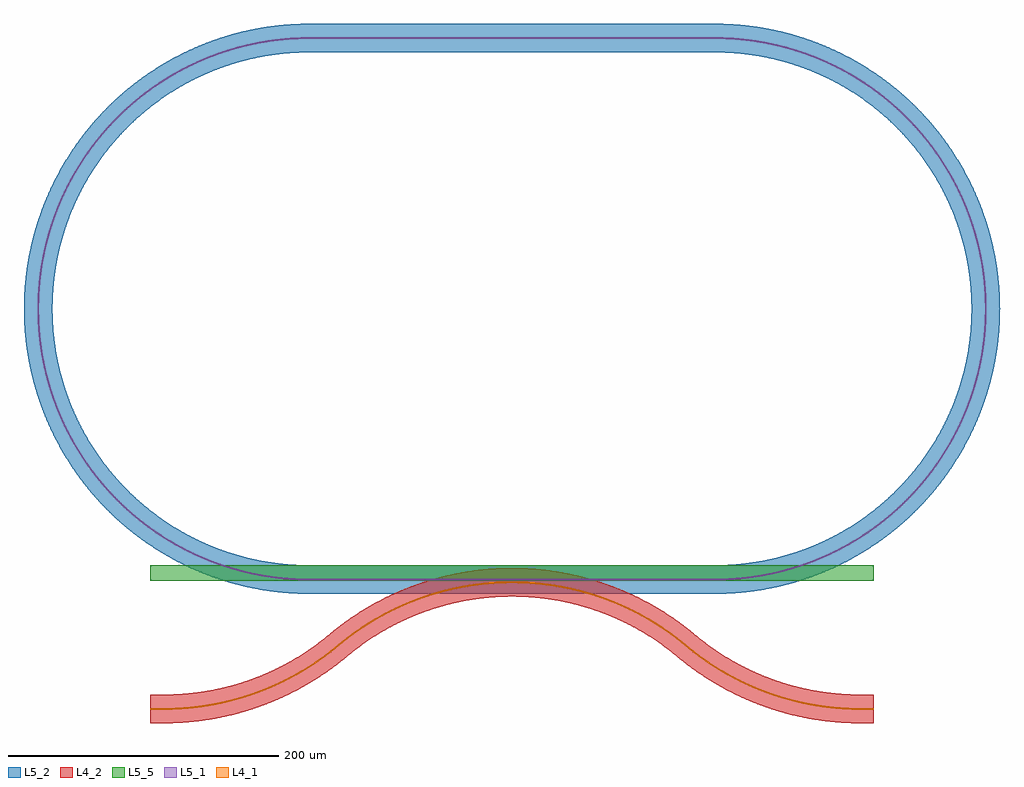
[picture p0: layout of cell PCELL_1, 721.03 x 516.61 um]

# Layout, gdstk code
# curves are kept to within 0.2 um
from math import pi, radians
import gdstk
lib = gdstk.Library(unit=1e-6, precision=1e-09)
def R(c, l, rs):  # rectangles x0, y0, x1, y1
    for r in rs: c.add(gdstk.rectangle(r[:2], r[2:], *l))
def P(c, l, *ps):  # polygons
    for p in ps: c.add(gdstk.Polygon(p, *l))
L4_1 = (4, 1)
L4_2 = (4, 2)
L5_1 = (5, 1)
L5_2 = (5, 2)
L5_5 = (5, 5)

wg_trace_1 = lib.new_cell('WG_TRACE_1')
P(wg_trace_1, L5_1, [(0,-0.53),(10.145,-0.273),(19.917,0.462),(29.64,1.673),(39.293,3.358),(48.852,5.512),(58.294,8.13),(67.598,11.207),(76.739,14.735),(85.698,18.705),(94.452,23.107),(102.98,27.933),(111.263,33.168),(119.28,38.803),(127.012,44.822),(134.44,51.212),(141.548,57.957),(148.318,65.041),(154.734,72.447),(160.78,80.158),(166.442,88.156),(171.707,96.42),(176.562,104.931),(180.995,113.67),(184.996,122.614),(188.556,131.744),(191.665,141.036),(194.316,150.469),(196.504,160.021),(198.327,170.36),(199.538,180.083),(200.273,189.855),(200.529,199.65),(200.307,209.446),(199.606,219.22),(198.429,228.948),(196.778,238.606),(194.657,248.173),(192.072,257.624),(189.028,266.938),(185.532,276.092),(181.593,285.065),(176.893,294.452),(172.067,302.98),(166.832,311.263),(161.197,319.28),(155.178,327.012),(148.788,334.44),(142.043,341.548),(134.959,348.318),(127.012,355.178),(119.28,361.197),(111.263,366.832),(102.98,372.067),(94.452,376.893),(85.698,381.295),(76.739,385.265),(67.598,388.793),(58.294,391.87),(48.852,394.488),(39.293,396.642),(29.64,398.327),(19.917,399.538),(10.145,400.273),(0,400.53),(0,399.47),(10.787,399.178),(21.196,398.34),(32.235,396.848),(42.493,394.891),(51.29,392.763),(59.982,390.238),(68.55,387.321),(77.618,383.749),(86.502,379.738),(95.179,375.297),(103.628,370.439),(111.83,365.173),(119.766,359.513),(126.879,353.916),(134.246,347.534),(141.292,340.8),(148.002,333.73),(154.358,326.34),(160.345,318.649),(165.95,310.675),(171.158,302.436),(175.958,293.953),(180.337,285.245),(184.286,276.334),(187.795,267.24),(190.855,257.986),(193.46,248.594),(195.603,239.085),(197.279,229.483),(198.483,219.811),(199.214,210.092),(199.469,200.348),(199.248,190.604),(198.551,180.882),(197.38,171.205),(195.738,161.598),(193.629,152.082),(191.057,142.68),(188.028,133.416),(184.551,124.31),(180.634,115.385),(176.284,106.662),(171.514,98.162),(166.335,89.905),(160.758,81.911),(154.798,74.199),(148.468,66.788),(141.538,59.447),(134.76,52.936),(127.415,46.528),(119.766,40.487),(111.83,34.827),(103.628,29.561),(95.179,24.703),(86.502,20.262),(77.618,16.251),(68.549,12.679),(59.982,9.762),(51.29,7.237),(42.493,5.109),(32.235,3.152),(21.196,1.66),(10.787,0.822),(0,0.53)])
P(wg_trace_1, L5_2, [(0,-10.515),(10.651,-10.245),(20.908,-9.474),(31.116,-8.202),(41.25,-6.434),(51.285,-4.172),(61.197,-1.423),(70.964,1.807),(80.56,5.51),(89.965,9.677),(99.155,14.299),(108.738,19.743),(117.414,25.27),(125.809,31.214),(133.904,37.562),(141.679,44.297),(149.113,51.4),(156.197,58.865),(162.905,66.664),(169.224,74.781),(175.139,83.197),(180.635,91.892),(185.701,100.845),(190.323,110.035),(194.49,119.44),(198.195,129.041),(201.423,138.803),(204.172,148.715),(206.434,158.75),(208.202,168.884),(209.474,179.092),(210.245,189.349),(210.514,199.633),(210.281,209.917),(209.546,220.177),(208.31,230.389),(206.577,240.529),(204.35,250.572),(201.636,260.494),(198.44,270.271),(194.77,279.881),(190.325,289.961),(185.701,299.155),(180.635,308.108),(175.139,316.803),(169.224,325.219),(162.905,333.336),(156.197,341.135),(149.116,348.596),(141.679,355.703),(133.9,362.441),(125.809,368.786),(117.414,374.73),(108.738,380.257),(99.155,385.701),(89.965,390.323),(80.56,394.49),(70.968,398.192),(61.197,401.423),(51.285,404.172),(41.25,406.434),(31.116,408.202),(20.908,409.474),(10.651,410.245),(0,410.515),(0,389.485),(9.587,389.242),(19.478,388.481),(29.315,387.203),(39.073,385.412),(48.723,383.113),(58.239,380.313),(67.596,377.017),(76.768,373.237),(85.729,368.982),(94.456,364.264),(102.923,359.095),(111.109,353.49),(118.989,347.465),(126.544,341.036),(133.752,334.22),(140.593,327.036),(151.528,313.77),(161.216,299.569),(169.576,284.548),(173.504,276.163),(176.78,268.214),(182.235,251.911),(186.19,235.181),(188.612,218.161),(189.242,209.587),(189.484,200.661),(189.304,191.735),(188.735,183.156),(186.431,166.12),(182.593,149.362),(179.902,140.503),(177.017,132.404),(170.162,116.638),(161.907,101.559),(152.319,87.29),(146.631,79.984),(141.036,73.456),(134.223,66.251),(127.036,59.407),(119.503,52.951),(111.644,46.898),(103.478,41.265),(95.025,36.065),(86.319,31.318),(77.372,27.032),(68.214,23.22),(58.868,19.892),(49.357,17.057),(39.72,14.725),(29.969,12.9),(20.135,11.588),(10.247,10.793),(0,10.515)])

pcell_2_wg1a = lib.new_cell('PCELL_2_wg1a')
P(pcell_2_wg1a, L4_1, [(-267.115,-96.112),(-254.329,-96.093),(-245.977,-95.803),(-236.258,-95.025),(-227.277,-93.88),(-217.673,-92.195),(-208.163,-90.046),(-199.436,-87.638),(-190.169,-84.607),(-181.06,-81.13),(-172.131,-77.214),(-163.403,-72.868),(-154.896,-68.103),(-147.213,-63.314),(-139.754,-58.182),(-133.081,-53.151),(-120.086,-42.727),(-114.482,-38.653),(-108.741,-34.776),(-101.679,-30.391),(-94.44,-26.303),(-87.66,-22.824),(-80.118,-19.327),(-71.144,-15.649),(-62.002,-12.411),(-52.713,-9.621),(-43.3,-7.286),(-32.418,-5.182),(-21.436,-3.685),(-11.079,-2.838),(0,-2.53),(0,-1.47),(-10.443,-1.742),(-20.164,-2.486),(-29.838,-3.702),(-40.124,-5.525),(-50.301,-7.881),(-60.342,-10.764),(-69.566,-13.923),(-79.266,-17.801),(-86.872,-21.264),(-94.942,-25.369),(-102.219,-29.479),(-109.319,-33.888),(-115.091,-37.785),(-120.724,-41.881),(-133.737,-52.318),(-140.375,-57.323),(-147.794,-62.427),(-155.436,-67.191),(-163.898,-71.931),(-172.58,-76.253),(-181.462,-80.149),(-190.522,-83.608),(-199.077,-86.422),(-207.75,-88.847),(-216.524,-90.879),(-225.381,-92.512),(-234.99,-93.821),(-244.652,-94.663),(-253.651,-95.022),(-267.115,-95.052)])
P(pcell_2_wg1a, L4_2, [(-267.115,-106.097),(-252.728,-106.052),(-241.774,-105.538),(-230.861,-104.454),(-219.3,-102.673),(-207.856,-100.253),(-196.564,-97.201),(-184.771,-93.276),(-173.902,-88.953),(-160.032,-82.375),(-146.677,-74.803),(-132.728,-65.418),(-114.599,-51.097),(-103.849,-43.507),(-90.291,-35.411),(-76.107,-28.471),(-66.967,-24.743),(-57.646,-21.496),(-48.168,-18.739),(-39.203,-16.615),(-29.496,-14.825),(-19.708,-13.543),(-9.868,-12.772),(0,-12.515),(0,8.515),(-10.232,8.266),(-21.168,7.448),(-31.324,6.172),(-42.122,4.258),(-52.098,1.967),(-62.649,-1.023),(-73.03,-4.558),(-82.541,-8.342),(-99.024,-16.229),(-114.148,-25.119),(-126.735,-33.908),(-146.218,-49.226),(-153.266,-54.075),(-161.093,-58.936),(-169.147,-63.41),(-177.408,-67.487),(-185.858,-71.158),(-194.477,-74.415),(-203.243,-77.248),(-212.137,-79.652),(-220.491,-81.494),(-229.571,-83.055),(-246.59,-84.775),(-267.115,-85.067)])

pcell_2_wg2a = lib.new_cell('PCELL_2_wg2a')
R(pcell_2_wg2a, L5_1, [(-5,-0.53,0,0.53)])
P(pcell_2_wg2a, L5_2, [(-5,-10.515),(0,-10.515),(0,-0.53),(0,0.53),(0,10.515),(-5,10.515),(-5,0.53),(-5,-0.53)])

pcell_2_wg1b = lib.new_cell('PCELL_2_wg1b')
P(pcell_2_wg1b, L4_1, [(0,-2.53),(9.696,-2.766),(20.058,-3.541),(30.365,-4.855),(39.912,-6.564),(50.036,-8.907),(60.023,-11.775),(69.198,-14.917),(78.847,-18.775),(86.413,-22.219),(94.44,-26.303),(101.679,-30.391),(108.741,-34.776),(114.482,-38.653),(120.086,-42.727),(133.081,-53.151),(139.754,-58.182),(147.213,-63.314),(155.496,-68.457),(164.019,-73.192),(172.762,-77.508),(181.705,-81.393),(190.825,-84.839),(200.103,-87.837),(209.515,-90.381),(218.357,-92.331),(227.966,-93.982),(236.951,-95.096),(245.977,-95.803),(254.329,-96.093),(267.115,-96.112),(267.115,-95.052),(253.651,-95.022),(244.652,-94.663),(234.99,-93.821),(225.381,-92.512),(216.524,-90.879),(208.422,-89.018),(199.74,-86.623),(191.176,-83.838),(182.103,-80.411),(173.208,-76.546),(164.511,-72.254),(156.033,-67.544),(148.374,-62.806),(140.375,-57.323),(133.737,-52.318),(120.724,-41.881),(115.091,-37.785),(108.734,-33.509),(101.018,-28.773),(93.712,-24.714),(86.244,-20.963),(78.626,-17.527),(68.912,-13.683),(58.346,-10.146),(47.6,-7.201),(37.391,-4.987),(25.7,-3.124),(13.224,-1.906),(6.267,-1.568),(0,-1.47)])
P(pcell_2_wg1b, L4_2, [(0,-12.515),(9.868,-12.772),(19.054,-13.475),(28.845,-14.723),(38.559,-16.48),(48.168,-18.739),(57.646,-21.496),(66.967,-24.743),(75.504,-28.208),(89.712,-35.098),(103.849,-43.507),(114.599,-51.097),(133.91,-66.278),(141.741,-71.666),(149.806,-76.694),(158.736,-81.696),(167.899,-86.258),(177.273,-90.369),(187.525,-94.262),(197.264,-97.41),(206.435,-99.906),(216.427,-102.128),(225.791,-103.754),(235.947,-105.03),(245.422,-105.772),(267.115,-106.097),(267.115,-85.067),(253.825,-85.039),(244.62,-84.655),(234.137,-83.669),(224.373,-82.217),(214.699,-80.259),(204.506,-77.618),(194.477,-74.415),(184.64,-70.659),(169.147,-63.41),(154.37,-54.793),(143.041,-46.882),(122.611,-30.877),(114.148,-25.119),(106.048,-20.147),(97.732,-15.546),(88.553,-11.016),(79.165,-6.937),(69.59,-3.32),(52.806,1.784),(35.655,5.474),(18.257,7.722),(0,8.515)])

pcell_2_wg2b = lib.new_cell('PCELL_2_wg2b')
R(pcell_2_wg2b, L5_1, [(0,-0.53,5,0.53)])
P(pcell_2_wg2b, L5_2, [(0,-10.515),(5,-10.515),(5,-0.53),(5,0.53),(5,10.515),(0,10.515),(0,0.53),(0,-0.53)])

pcell_2 = lib.new_cell('PCELL_2')
pcell_2.add(gdstk.Reference(pcell_2_wg1a, (0,0)))
pcell_2.add(gdstk.Reference(pcell_2_wg2a, (0,0)))
pcell_2.add(gdstk.Reference(pcell_2_wg1b, (0,0)))
pcell_2.add(gdstk.Reference(pcell_2_wg2b, (0,0)))

pcell_1_bend1_in_to_coup = lib.new_cell('PCELL_1_bend1_in_to_coupler_in2')
R(pcell_1_bend1_in_to_coup, L5_1, [(-150,-0.53,-5,0.53)])
P(pcell_1_bend1_in_to_coup, L5_2, [(-150,-10.515),(-5,-10.515),(-5,-0.53),(-5,0.53),(-5,10.515),(-150,10.515),(-150,0.53),(-150,-0.53)])

pcell_1_bend2_in_to_coup = lib.new_cell('PCELL_1_bend2_in_to_coupler_out2')
R(pcell_1_bend2_in_to_coup, L5_1, [(5,-0.53,150,0.53)])
P(pcell_1_bend2_in_to_coup, L5_2, [(150,10.515),(5,10.515),(5,0.53),(5,-0.53),(5,-10.515),(150,-10.515),(150,-0.53),(150,0.53)])

pcell_1_bend1_out_to_ben = lib.new_cell('PCELL_1_bend1_out_to_bend2_out')
R(pcell_1_bend1_out_to_ben, L5_1, [(-150,399.47,150,400.53)])
P(pcell_1_bend1_out_to_ben, L5_2, [(-150,389.485),(150,389.485),(150,399.47),(150,400.53),(150,410.515),(-150,410.515),(-150,400.53),(-150,399.47)])

pcell_1 = lib.new_cell('PCELL_1')
R(pcell_1, L5_5, [(-267.115,-1,267.115,10.515)])
pcell_1.add(gdstk.Reference(wg_trace_1, (-150,0), rotation=pi, x_reflection=True))
pcell_1.add(gdstk.Reference(wg_trace_1, (150,0)))
pcell_1.add(gdstk.Reference(pcell_2, (0,0)))
pcell_1.add(gdstk.Reference(pcell_1_bend1_in_to_coup, (0,0)))
pcell_1.add(gdstk.Reference(pcell_1_bend2_in_to_coup, (0,0)))
pcell_1.add(gdstk.Reference(pcell_1_bend1_out_to_ben, (0,0)))

lib.write_gds('PCELL_1.gds')
